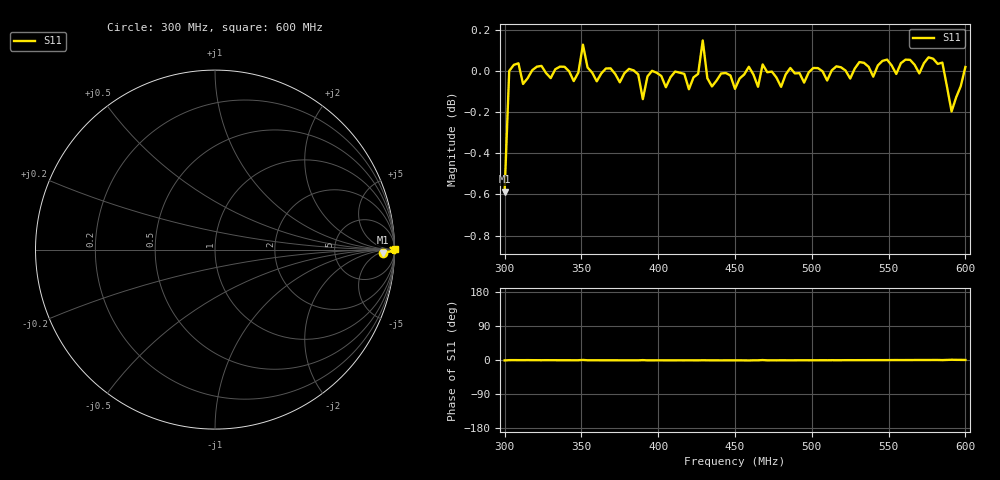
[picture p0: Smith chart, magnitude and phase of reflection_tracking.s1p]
! Created with skrf 1.8.0 (http://scikit-rf.org).
# Hz S RI R 50.0
!freq ReS11 ImS11
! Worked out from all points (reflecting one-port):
!   101 points, 300 MHz to 600 MHz, reference 50 ohm
!   lowest |S11| = -0.6 dB at 300 MHz (marker M1), VSWR 29.61, Z = 1.37e+03 - j390 ohm
!   phase of S11 starts at -1 deg and turns +1 deg over the sweep
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3e8  0.9345 -0.018
3.03e8  1 -0.00676
3.39e8  1.002 -0.00973
3.45e8  0.9943 -0.0114
3.51e8  1.015 0.0023
3.54e8  1.002 -0.012
3.6e8  0.9942 -0.012
3.75e8  0.9936 -0.0138
3.84e8  1 -0.0142
3.9e8  0.9844 -0.00556
3.96e8  1 -0.0168
4.05e8  0.9908 -0.0155
4.14e8  0.999 -0.0147
4.2e8  0.9897 -0.0136
4.26e8  0.9983 -0.0152
4.29e8  1.017 -0.0123
4.35e8  0.9913 -0.0165
4.5e8  0.9899 -0.0152
4.59e8  1.002 -0.0207
4.65e8  0.9911 -0.0144
4.68e8  1.004 -0.00281
4.71e8  0.9992 -0.0158
4.89e8  0.9985 -0.0133
5.25e8  0.9957 -0.00766
5.64e8  1.006 -0.0023
5.85e8  1.005 -0.00437
5.91e8  0.9775 0.011
6e8  1.002 0.00248
